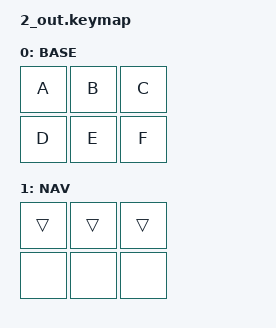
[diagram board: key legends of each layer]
/ {
	keymap {

		compatible		=		"zmk,keymap";


		// BEGIN keymap
		BASE  					{
				display-name				=			"BASE";
				bindings = <


					&kp	A	&kp	B	&kp	C
					&kp	D	&kp	E	&kp	F
				>;
			};

		NAV  					{
				display-name				=			"NAV";
				bindings = <


					&trans	&trans	&trans
					&none	&none	&none
				>;
			};
		// END keymap
	};
};
